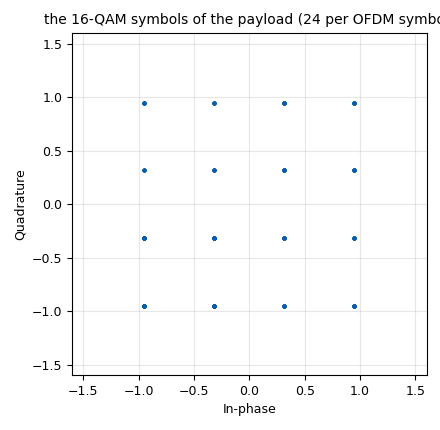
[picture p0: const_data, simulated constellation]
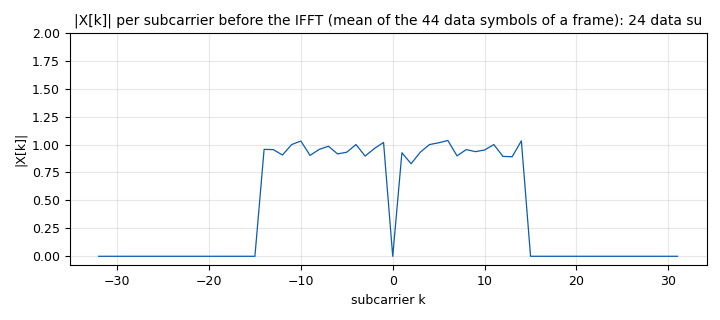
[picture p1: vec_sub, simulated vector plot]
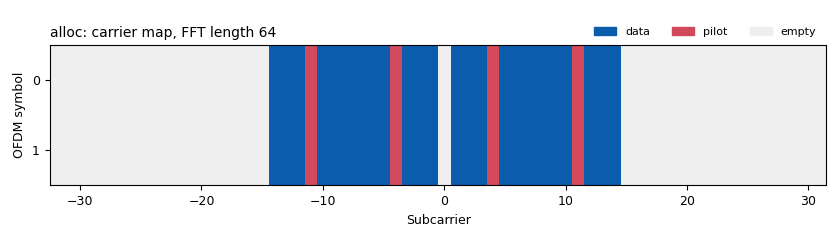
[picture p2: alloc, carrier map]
options:
  parameters:
    author: p501_fft_example
    description: 'The B210 transmits the frame of the P501 receiver with the 128-sample STS (overlay p501_ofdm_rx_sts; 850 MHz, 3.84 MS/s): the preamble from a vector source, the 44 data symbols from the stock gr-digital blocks (chunks to symbols, OFDM carrier allocator, IFFT, cyclic prefixer), the idle slot of 32 samples, joined by a tagged stream mux.'
    generate_options: qt_gui
    id: ofdm_b210_frame_tx_sts_stock
    output_language: python
    title: 'B210 transmitter: OFDM frames with the 128-sample STS preamble, the data from the stock GNU Radio OFDM blocks'
  states: {}

blocks:
- name: samp_rate
  id: variable
  parameters:
    value: '3840000'
    comment: '3.84 MS/s: the P501''s sample rate; N = 64 subcarriers of 60 kHz'
  states: {}
- name: freq
  id: variable
  parameters:
    value: 850e6
    comment: 'carrier: the P501 receiver (notebook P501_OFDM_Live, p501_ofdm_b210.py) must use the same LO. Check the rules where you are before transmitting'
  states: {}
- name: fft_len
  id: variable
  parameters:
    value: '64'
    comment: FFT length N
  states: {}
- name: cp_len
  id: variable
  parameters:
    value: '16'
    comment: cyclic prefix, in samples
  states: {}
- name: length_tag_key
  id: variable
  parameters:
    value: '"packet_len"'
    comment: the tag that carries the length of a frame (in symbols, then in OFDM symbols, then in samples) from block to block
  states: {}
- name: occupied_carriers
  id: variable
  parameters:
    value: ([-14, -13, -12, -10, -9, -8, -7, -6, -5, -3, -2, -1, 1, 2, 3, 5, 6, 7, 8, 9, 10, 12, 13, 14],)
    comment: the 24 data subcarriers (k = -14 .. +14 without 0 and without the pilots), in the order in which the symbols are placed
  states: {}
- name: pilot_carriers
  id: variable
  parameters:
    value: ([-11, -4, 4, 11],)
    comment: the 4 pilot subcarriers
  states: {}
- name: pilot_polarity
  id: variable
  parameters:
    value: '[-1, -1, -1, -1, -1, -1, -1, 1, 1, 1, 1, 1, 1, -1, 1, 1, 1, 1, 1, -1, -1, 1, 1, 1, 1, -1, 1, -1, 1, 1, 1, -1, -1, -1, -1, 1, 1, -1, 1, 1, 1, -1, 1, -1]'
    comment: the sign of the pilots in every one of the 44 data symbols (PRBS-7 of IEEE 802.11)
  states: {}
- name: pilot_symbols
  id: variable
  parameters:
    value: tuple(tuple(p * v for v in ((0.707106781187+0.707106781187j), (0.707106781187-0.707106781187j), (-0.707106781187+0.707106781187j), (-0.707106781187-0.707106781187j))) for p in pilot_polarity)
    comment: 'the pilot values of every data symbol: QPSK times the polarity'
  states: {}
- name: payload_nibbles
  id: variable
  parameters:
    value: '[15, 15, 15, 14, 0, 0, 0, 4, 0, 0, 1, 8, 0, 0, 5, 0, 0, 1, 14, 0, 0, 4, 4, 0, 1, 9, 8, 0, 5, 5, 0, 1, 15, 14, 0, 4, 0, 4, 1, 8, 1, 8, 5, 0, 5, 1, 14, 1, 14, 4, 4, 4, 5, 9, 9, 9, 13, 5, 5, 4, 15, 15, 15, 10, 0, 0, 1, 12, 0, 0, 4, 8, 0, 1, 11, 0, 0, 5, 10, 0, 1, 13, 12, 0, 4, 12, 8, 1, 10, 11, 0, 5, 15, 10, 1, 12, 1, 12, 4, 8, 4, 9, 11, 1, 11, 5, 10, 5, 11, 13, 13, 13, 8, 12, 12, 13, 2, 10, 10, 14, 15, 15, 14, 6, 0, 0, 5, 4, 0, 1, 15, 8, 0, 4, 1, 0, 1, 8, 6, 0, 5, 1, 4, 1, 14, 7, 8, 4, 5, 1, 1, 9, 14, 6, 5, 4, 5, 5, 15, 9, 15, 12, 1, 4, 0, 8, 7, 8, 3, 1, 1, 0, 10, 6, 6, 3, 13, 5, 4, 8, 15, 15, 11, 2, 0, 1, 10, 12, 0, 5, 14, 8, 1, 12, 7, 0, 4, 9, 2, 1, 11, 6, 12, 5, 11, 6, 9, 13, 11, 7, 4, 13, 11, 3, 10, 13, 10, 9, 14, 13, 15, 4, 6, 12, 3, 9, 6, 8, 9, 7, 7, 3, 7, 3, 2, 11, 2, 10, 15, 10, 15, 14, 1, 14, 0, 4, 4, 4, 1, 9, 9, 8, 5, 5, 5, 1, 15, 15, 14, 4, 0, 0, 5, 8, 0, 1, 13, 0, 0, 4, 14, 0, 1, 10, 4, 0, 5, 13, 8, 1, 12, 13, 0, 4, 10, 14, 1, 11, 14, 4, 5, 8, 5, 9, 13, 1, 13, 4, 14, 4, 15, 10, 5, 10, 1, 13, 13, 12, 4, 12, 12, 9, 10, 10, 11, 5, 15, 15, 11, 12, 0, 1, 8, 8, 0, 5, 3, 0, 1, 14, 10, 0, 4, 7, 12, 1, 9, 0, 8, 5, 6, 3, 1, 15, 4, 10, 4, 3, 11, 13, 8, 9, 8, 13, 3, 5, 2, 14, 11, 14, 14, 7, 8, 6, 5, 1, 1, 5, 14, 6, 7, 12, 5, 5, 0, 9, 15, 14, 3, 4, 0, 4, 11, 8, 1, 11, 9, 0, 5, 9, 6, 1, 13, 7, 4, 4, 15, 3, 9, 10, 2, 9, 5, 12, 15, 7, 12, 10, 3, 0, 11, 12, 10, 3, 8, 11, 12, 9, 3, 8, 11, 6, 9, 3, 11, 7, 6, 9, 11, 3, 7, 5, 10, 11, 3, 13, 15, 10, 8, 12, 1, 15, 2, 8, 4, 2, 15, 1, 8, 14, 2, 5, 2, 4, 13, 14, 13, 10, 12, 6, 13, 14, 9, 6, 12, 7, 7, 6, 9, 3, 3, 7, 6, 10, 11, 3, 7, 15, 10, 11, 0, 1, 15, 10, 0, 4, 1, 12, 1, 8, 4, 8, 5, 1, 11, 1, 14, 5, 10, 4, 5, 13, 13, 9, 12, 12, 13, 4, 10, 10, 15, 11, 15, 14, 1, 8, 0, 4, 5, 0, 1, 9, 14, 0, 5, 4, 4, 1, 15, 9, 8, 4, 1, 5, 1, 8, 7, 14, 5, 1, 0, 5, 14, 6, 1, 12, 5, 4, 4, 9, 15, 9, 11, 4, 1, 5, 11, 8, 7, 13, 9, 1, 0, 13, 6, 6, 2, 15, 5, 4, 14, 3, 15, 10, 4, 8, 1, 13, 11, 0, 4, 13, 10, 1, 10, 13, 12, 5, 14, 12, 9, 12, 6, 11, 4, 9, 7, 11, 11, 7, 1, 9, 11, 2, 5, 5, 10, 13, 15, 13, 14, 12, 0, 12, 6, 8, 2, 9, 7, 0, 15, 7, 2, 2, 3, 2, 12, 12, 10, 14, 10, 11, 14, 7, 15, 8, 5, 0, 1, 1, 14, 0, 6, 4, 4, 1, 5, 9, 8, 7, 13, 5, 1, 0, 15, 14, 6, 2, 0, 5, 4, 12, 1, 15, 10, 8, 4, 1, 15, 1, 8, 4, 2, 5, 1, 8, 13, 14, 5, 2, 12, 5, 14, 14, 9, 12, 6, 7, 4, 9, 5, 3, 11, 7, 14, 9, 11, 0, 7, 5, 10, 1, 3, 13, 12, 6, 8, 12, 9, 7, 2, 11, 7, 2, 15, 11, 2, 14, 1, 10, 14, 4, 5, 14, 5, 9, 12, 5, 13, 4, 9, 12, 15, 11, 4, 10, 1, 11, 11, 12, 5, 9, 8, 9, 13, 5, 3, 4, 15, 14, 11, 10, 0, 7, 9, 12, 1, 1, 4, 8, 6, 7, 11, 1, 5, 1, 10, 7, 14, 5, 13, 0, 5, 12, 14, 1, 12, 10, 4, 4, 11, 13, 9, 11, 8, 13, 5, 9, 2, 15, 13, 6, 14, 0, 15, 6, 4, 2, 3, 5, 8, 12, 11, 13, 2, 11, 8, 14, 15, 9, 2, 6, 1, 6, 13, 4, 7, 6, 15, 9, 3, 6, 1, 6, 11, 4, 7, 7, 11, 9, 3, 1, 9, 6, 10, 5, 7, 7, 13, 15, 3, 0, 12, 2, 10, 2, 8, 15, 12, 15, 2, 0, 10, 2, 12, 3, 12, 14, 8, 8, 10, 7, 3, 3, 13, 2, 10, 8, 14, 15, 15, 2, 6, 0, 2, 13, 4, 0, 14, 15, 8, 2, 6, 1, 0, 13, 4, 6, 2, 15, 9, 4, 14, 1, 7, 10, 4, 7, 1, 13, 9, 2, 4, 13, 6, 13, 10, 15, 6, 13, 14, 3, 6, 12, 4, 11, 6, 9, 11, 11, 7, 5, 9, 11, 3, 13, 5, 10, 8, 15, 13, 15, 2, 0, 12, 2, 12, 2, 8, 14, 8, 15, 2, 7, 2, 2, 13, 2, 12, 14, 14, 14, 10, 6, 6, 7, 13, 5, 5, 0, 15, 15, 14, 2, 0, 0, 4, 12, 0, 1, 10, 8, 0, 5, 15, 0, 1, 12, 2, 0, 4, 8, 12, 1, 11, 2, 8, 5, 10, 15, 1, 13, 14, 2, 4, 12, 4, 13, 10, 9, 10, 13, 15, 5, 14, 12, 3, 12, 6, 8, 8, 9, 7, 3, 3, 7, 2, 10, 11, 2, 15, 15, 10, 14, 0, 1, 14, 4, 0, 4, 5, 8, 1, 9, 13, 0, 5, 4, 14, 1, 15, 10, 4, 4, 1, 13, 9, 8, 4, 13, 5, 1, 10, 15, 14, 5]'
    comment: 'the payload of one frame: 44 symbols x 24 subcarriers = 1056 numbers of 4 bits (the PRBS-15 of the other transmitter and of the receivers'' error counters, restarted in every frame)'
  states: {}
- name: payload_points
  id: variable
  parameters:
    value: '[((-3, -1, 3, 1)[i >> 2] + 1j * (-3, -1, 3, 1)[i & 3]) / 10 ** 0.5 for i in range(16)]'
    comment: '16-QAM with the Gray code of the receivers: index i = 4 I + Q, the levels -3 -1 3 1 for the Gray codes 00 01 10 11, unit average power'
  states: {}
- name: tx_scale
  id: variable
  parameters:
    value: tx_amp / (8 * 0.668721)
    comment: 'the IFFT of GNU Radio has no 1/N: its output is 8 times the model''s frame, whose rms over the 3808 active samples (the frame without its idle slot) is 0.6687; this makes the rms of the active part tx_amp'
  states: {}
- name: tabs
  id: qtgui_tab_widget
  parameters:
    num_tabs: '4'
    label0: 1 Data symbols
    label1: 2 Subcarriers
    label2: 3 Frame in time
    label3: 4 Spectrum
    gui_hint: 2,0,1,4
    comment: one tab per stage of the transmitter
  states: {}
- name: tx_on
  id: variable_qtgui_chooser
  parameters:
    comment: OFF at start. Switch ON when the receiver is ready.
    gui_hint: 0,0,1,1
    label: Transmit (B210 TX/RX port)
    label0: 'OFF'
    label1: 'ON'
    num_opts: '2'
    option0: '0'
    option1: '1'
    type: int
    value: '0'
    widget: radio_buttons
  states: {}
- name: tx_gain
  id: variable_qtgui_range
  parameters:
    comment: 'the default is low because the amplifier after the B210 of the lab (65 dB gave about 80 counts at the P501 with its RX gain index 50, SNR 35 dB); without an amplifier and with the antennas a few centimetres apart 79 dB is the value of ofdm_b210_frame_tx.grc (SNR 26 dB at the P501 with RX gain index 70). Raise it step by step: the radiated power is yours to check'
    gui_hint: 0,1,1,3
    label: B210 TX gain (dB)
    start: '0'
    step: '1'
    stop: '86'
    value: '60'
  states: {}
- name: tx_amp
  id: variable_qtgui_range
  parameters:
    comment: 'OFDM peaks are 3.4 x the RMS: 0.25 gives peaks of 0.85 of full scale; 0.29 is the limit'
    gui_hint: 1,0,1,4
    label: TX digital amplitude (RMS of the active part)
    start: '0'
    step: '0.01'
    stop: '0.29'
    value: '0.25'
  states: {}
- name: payload_src
  id: blocks_vector_source_x
  parameters:
    type: byte
    vector: payload_nibbles
    repeat: 'True'
    comment: 'STOCK: the 1056 symbols of one frame, repeated forever'
  states: {}
- name: to_frame
  id: blocks_stream_to_tagged_stream
  parameters:
    type: byte
    packet_len: len(payload_nibbles)
    len_tag_key: length_tag_key
    comment: 'STOCK: cuts the stream into frames of 1056 symbols and tags the length'
  states: {}
- name: mapper
  id: digital_chunks_to_symbols_xx
  parameters:
    in_type: byte
    out_type: complex
    symbol_table: payload_points
    dimension: '1'
    comment: 'STOCK: number 0 .. 15 -> 16-QAM point'
  states: {}
- name: alloc
  id: digital_ofdm_carrier_allocator_cvc
  parameters:
    fft_len: fft_len
    len_tag_key: length_tag_key
    occupied_carriers: occupied_carriers
    output_is_shifted: 'True'
    pilot_carriers: pilot_carriers
    pilot_symbols: pilot_symbols
    sync_words: ()
    comment: 'STOCK BLOCK: carrier allocator (no sync words here, the preamble comes from the vector source): 24 values to the 24 data subcarriers, the pilots on 4 more, zeros elsewhere; one vector of 64 per OFDM symbol, 44 per frame'
  states: {}
- name: ifft
  id: fft_vxx
  parameters:
    type: complex
    fft_size: fft_len
    forward: 'False'
    window: ()
    shift: 'True'
    comment: 'STOCK: inverse FFT of every OFDM symbol (shift: the subcarrier k is in the bin k + 32). No 1/N'
  states: {}
- name: cp
  id: digital_ofdm_cyclic_prefixer
  parameters:
    input_size: fft_len
    cp_len: cp_len
    tagname: length_tag_key
    minoutbuf: '32768'
    comment: 'STOCK BLOCK: copies the last 16 samples of every symbol in front of it: 80 samples per symbol, 3520 per frame. Its output buffer must hold a whole frame: minimum output buffer 32768 (8192 was not enough), without it the block stops with ''Buffer too small for min_noutput_items'''
  states: {}
- name: idle_src
  id: analog_const_source_x
  parameters:
    type: complex
    const: '0'
    comment: 'the idle slot: zeros'
  states: {}
- name: idle_tag
  id: blocks_stream_to_tagged_stream
  parameters:
    type: complex
    packet_len: '32'
    len_tag_key: length_tag_key
    comment: 'STOCK: 32 samples of silence: the idle slot of the STS frame'
  states: {}
- name: mux
  id: blocks_tagged_stream_mux
  parameters:
    lengthtagname: length_tag_key
    ninputs: '3'
    type: complex
    minoutbuf: '32768'
    comment: 'STOCK: preamble (288) + data (3520) + idle slot (32) = 3840 samples = 1 ms (minimum output buffer 32768 for the same reason)'
  states: {}
- name: scale
  id: blocks_multiply_const_vxx
  parameters:
    type: complex
    const: tx_scale * tx_on
    comment: 1 / 8 and the amplitude, and the ON/OFF switch
  states: {}
- name: gate
  id: blocks_tag_gate
  parameters:
    type: complex
    propagate_tags: 'False'
    comment: removes the length tags before the B210 (the sink does not need them)
  states: {}
- name: uhd_usrp_sink_0
  id: uhd_usrp_sink
  parameters:
    ant0: TX/RX
    center_freq0: freq
    comment: the B210 transmitter (TX/RX port); the B210 must be the only program using it
    dev_addr: ''
    dev_args: num_send_frames=128,num_recv_frames=128,send_frame_size=16360,recv_frame_size=16360
    gain0: tx_gain
    samp_rate: samp_rate
    sync: sync
    type: fc32
  states: {}
- name: const_data
  id: qtgui_const_sink_x
  parameters:
    grid: 'True'
    gui_hint: tabs@0:0,0,1,1
    label1: symbols
    legend: 'False'
    name: '"the 16-QAM symbols of the payload (24 per OFDM symbol)"'
    size: '1056'
    type: complex
    update_time: '0.1'
    xmax: '1.6'
    xmin: '-1.6'
    ymax: '1.6'
    ymin: '-1.6'
  states: {}
- name: v_mag
  id: blocks_complex_to_mag
  parameters:
    vlen: '64'
  states: {}
- name: v_avg
  id: blocks_moving_average_xx
  parameters:
    type: float
    length: '44'
    scale: 1.0 / 44
    max_iter: '4000'
    vlen: '64'
    comment: the mean |X[k]| over the 44 data symbols of a frame
  states: {}
- name: vec_sub
  id: qtgui_vector_sink_f
  parameters:
    name: '"|X[k]| per subcarrier before the IFFT (mean of the 44 data symbols of a frame): 24 data subcarriers and the 4 pilots"'
    vlen: '64'
    x_start: '-32'
    x_step: '1'
    x_axis_label: '"subcarrier k"'
    y_axis_label: '"|X[k]|"'
    ymin: '0'
    ymax: '2'
    gui_hint: tabs@1:0,0,1,1
    update_time: '0.1'
    grid: 'True'
  states: {}
- name: x_mag
  id: blocks_complex_to_mag
  parameters: {}
  states: {}
- name: time_sink
  id: qtgui_time_sink_x
  parameters:
    autoscale: 'True'
    entags: 'False'
    grid: 'True'
    gui_hint: tabs@2:0,0,1,1
    label1: '"|x|"'
    legend: 'False'
    name: '"the frame as the B210 sends it: |x| (two frames of 3840 samples = 1 ms each: the STS, the training symbols, the 44 data symbols, a gap of 32 samples)"'
    size: '8192'
    srate: samp_rate
    type: float
    update_time: '0.1'
    ymax: '1.0'
    ymin: '0'
  states: {}
- name: freq_sink
  id: qtgui_freq_sink_x
  parameters:
    average: '0.2'
    bw: samp_rate
    fc: '0'
    fftsize: '2048'
    grid: 'True'
    gui_hint: tabs@3:0,0,1,1
    label1: TX
    legend: 'False'
    name: '"spectrum sent to the B210: 28 subcarriers of 60 kHz = 1.7 MHz"'
    type: complex
    update_time: '0.1'
    ymax: '20'
    ymin: '-100'
  states: {}
- name: preamble_samples
  id: variable
  parameters:
    value: '[3.055050463j, 0j, (-0+1.265443336j), (-0+3.662737783j), 3.055050463j, 0j, -1.265443336j, 1.013731006j, 3.055050463j, 0j, -7.375544262j, -12.303725381j, -9.16515139j, 0j, (-0+7.375544262j), (-0+7.627256592j), 3.055050463j, 0j, (-0+1.265443336j), (-0+3.662737783j), 3.055050463j, 0j, -1.265443336j, 1.013731006j, 3.055050463j, 0j, -7.375544262j, -12.303725381j, -9.16515139j, 0j, (-0+7.375544262j), (-0+7.627256592j), 3.055050463j, 0j, (-0+1.265443336j), (-0+3.662737783j), 3.055050463j, 0j, -1.265443336j, 1.013731006j, 3.055050463j, 0j, -7.375544262j, -12.303725381j, -9.16515139j, 0j, (-0+7.375544262j), (-0+7.627256592j), 3.055050463j, 0j, (-0+1.265443336j), (-0+3.662737783j), 3.055050463j, 0j, -1.265443336j, 1.013731006j, 3.055050463j, 0j, -7.375544262j, -12.303725381j, -9.16515139j, 0j, (-0+7.375544262j), (-0+7.627256592j), 3.055050463j, 0j, (-0+1.265443336j), (-0+3.662737783j), 3.055050463j, 0j, -1.265443336j, 1.013731006j, 3.055050463j, 0j, -7.375544262j, -12.303725381j, -9.16515139j, 0j, (-0+7.375544262j), (-0+7.627256592j), 3.055050463j, 0j, (-0+1.265443336j), (-0+3.662737783j), 3.055050463j, 0j, -1.265443336j, 1.013731006j, 3.055050463j, 0j, -7.375544262j, -12.303725381j, -9.16515139j, 0j, (-0+7.375544262j), (-0+7.627256592j), 3.055050463j, 0j, (-0+1.265443336j), (-0+3.662737783j), 3.055050463j, 0j, -1.265443336j, 1.013731006j, 3.055050463j, 0j, -7.375544262j, -12.303725381j, -9.16515139j, 0j, (-0+7.375544262j), (-0+7.627256592j), 3.055050463j, 0j, (-0+1.265443336j), (-0+3.662737783j), 3.055050463j, 0j, -1.265443336j, 1.013731006j, 3.055050463j, 0j, -7.375544262j, -12.303725381j, -9.16515139j, 0j, (-0+7.375544262j), (-0+7.627256592j), (1.414213562-5.656854249j), (3.82596343-6.344152676j), (0.736064958-2.459096554j), (-4.352851698-0.370352313j), (-6.15432203-3.07192983j), (-3.594217809-5.900513181j), (-0.041880602-3.732032249j), (1.31705065+1.057343847j), (0.414213562+1.828427125j), (-1.318335704-2.647894806j), (-3.368322263-6.239551035j), (-5.613930276-3.766319299j), (-6.665723819+2.471347365j), (-4.923052165+6.336819696j), (-1.479470678+5.297618727j), (-0.072137357+1.710711654j), (-2.828427125-1.414213562j), (-7.01343444-2.805014404j), (-7.632302381-1.924802493j), (-3.169400875+0.979475894j), (2.775829235+3.388955165j), (6.002152583+2.221216839j), (6.304684422-1.57915577j), (6.242577601-2.877714446j), (6.414213562+1j), (4.395436322+5.680987331j), (-0.946227068+5.005221894j), (-6.108506294-0.379194642j), (-6.065141355-3.685055759j), (-0.38665805-1.505089947j), (5.711388008+1.644360676j), (7.123780937+0.511896432j), (4.242640687-2.828427125j), (1.408132422-2.311434862j), (1.048633847+2.438171812j), (1.394587711+4.908093235j), (0.15432203+1.07192983j), (-1.692566848-4.518238804j), (-1.438336333-4.88109368j), (0.991261859+0.024108815j), (2.414213562+3.828427125j), (0.604643647+2.429444514j), (-2.542497062-1.764611155j), (-3.350946859-4.435622199j), (-0.99113043-4.471347365j), (1.842133835-2.983988665j), (2.756239332-0.380010927j), (2.437946399+2.831836995j), (2.828427125+4.242640687j), (3.944122989+1.904781282j), (4.190749327-2.054272766j), (3.353916722-3.352432416j), (3.224170765-1.388955165j), (4.510883933-0.090184171j), (4.832386762-1.8077183j), (1.61389429-3.429990076j), (-3.585786438-1j), (-5.846528665+4.093283622j), (-2.799807857+6.998940296j), (1.84713157+6.41635174j), (2.408287105+5.685055759j), (-1.75867548+6.439978235j), (-5.331302412+5.438031525j), (-3.654374379+0.171806778j), (1.414213562-5.656854249j), (3.82596343-6.344152676j), (0.736064958-2.459096554j), (-4.352851698-0.370352313j), (-6.15432203-3.07192983j), (-3.594217809-5.900513181j), (-0.041880602-3.732032249j), (1.31705065+1.057343847j), (0.414213562+1.828427125j), (-1.318335704-2.647894806j), (-3.368322263-6.239551035j), (-5.613930276-3.766319299j), (-6.665723819+2.471347365j), (-4.923052165+6.336819696j), (-1.479470678+5.297618727j), (-0.072137357+1.710711654j), (-2.828427125-1.414213562j), (-7.01343444-2.805014404j), (-7.632302381-1.924802493j), (-3.169400875+0.979475894j), (2.775829235+3.388955165j), (6.002152583+2.221216839j), (6.304684422-1.57915577j), (6.242577601-2.877714446j), (6.414213562+1j), (4.395436322+5.680987331j), (-0.946227068+5.005221894j), (-6.108506294-0.379194642j), (-6.065141355-3.685055759j), (-0.38665805-1.505089947j), (5.711388008+1.644360676j), (7.123780937+0.511896432j), (4.242640687-2.828427125j), (1.408132422-2.311434862j), (1.048633847+2.438171812j), (1.394587711+4.908093235j), (0.15432203+1.07192983j), (-1.692566848-4.518238804j), (-1.438336333-4.88109368j), (0.991261859+0.024108815j), (2.414213562+3.828427125j), (0.604643647+2.429444514j), (-2.542497062-1.764611155j), (-3.350946859-4.435622199j), (-0.99113043-4.471347365j), (1.842133835-2.983988665j), (2.756239332-0.380010927j), (2.437946399+2.831836995j), (2.828427125+4.242640687j), (3.944122989+1.904781282j), (4.190749327-2.054272766j), (3.353916722-3.352432416j), (3.224170765-1.388955165j), (4.510883933-0.090184171j), (4.832386762-1.8077183j), (1.61389429-3.429990076j), (-3.585786438-1j), (-5.846528665+4.093283622j), (-2.799807857+6.998940296j), (1.84713157+6.41635174j), (2.408287105+5.685055759j), (-1.75867548+6.439978235j), (-5.331302412+5.438031525j), (-3.654374379+0.171806778j), (1.414213562-5.656854249j), (3.82596343-6.344152676j), (0.736064958-2.459096554j), (-4.352851698-0.370352313j), (-6.15432203-3.07192983j), (-3.594217809-5.900513181j), (-0.041880602-3.732032249j), (1.31705065+1.057343847j), (0.414213562+1.828427125j), (-1.318335704-2.647894806j), (-3.368322263-6.239551035j), (-5.613930276-3.766319299j), (-6.665723819+2.471347365j), (-4.923052165+6.336819696j), (-1.479470678+5.297618727j), (-0.072137357+1.710711654j), (-2.828427125-1.414213562j), (-7.01343444-2.805014404j), (-7.632302381-1.924802493j), (-3.169400875+0.979475894j), (2.775829235+3.388955165j), (6.002152583+2.221216839j), (6.304684422-1.57915577j), (6.242577601-2.877714446j), (6.414213562+1j), (4.395436322+5.680987331j), (-0.946227068+5.005221894j), (-6.108506294-0.379194642j), (-6.065141355-3.685055759j), (-0.38665805-1.505089947j), (5.711388008+1.644360676j), (7.123780937+0.511896432j)]'
    comment: 'the 288 samples that start the frame, in the units of the stock IFFT (8 x the model): the STS (128 samples: a 64-sample IFFT of 6 QPSK subcarriers k = +-4, +-8, +-12 sent twice, so the signal repeats every 16 samples) and the LTS (a prefix of 32 samples, the training symbol of 28 QPSK subcarriers, the same symbol again: 160 samples). They are not OFDM symbols with the usual 16-sample prefix, so the carrier allocator does not make them'
  states: {}
- name: pre_src
  id: blocks_vector_source_x
  parameters:
    type: complex
    vector: preamble_samples
    repeat: 'True'
    comment: 'STOCK: the preamble of every frame, repeated forever'
  states: {}
- name: pre_tag
  id: blocks_stream_to_tagged_stream
  parameters:
    type: complex
    packet_len: len(preamble_samples)
    len_tag_key: length_tag_key
    comment: 'STOCK: cuts it into packets of 288 samples and tags the length'
  states: {}

connections:
- [payload_src, '0', to_frame, '0']
- [to_frame, '0', mapper, '0']
- [mapper, '0', alloc, '0']
- [alloc, '0', ifft, '0']
- [ifft, '0', cp, '0']
- [idle_src, '0', idle_tag, '0']
- [mux, '0', scale, '0']
- [scale, '0', gate, '0']
- [gate, '0', uhd_usrp_sink_0, '0']
- [mapper, '0', const_data, '0']
- [alloc, '0', v_mag, '0']
- [v_mag, '0', v_avg, '0']
- [v_avg, '0', vec_sub, '0']
- [scale, '0', x_mag, '0']
- [x_mag, '0', time_sink, '0']
- [scale, '0', freq_sink, '0']
- [pre_src, '0', pre_tag, '0']
- [pre_tag, '0', mux, '0']
- [cp, '0', mux, '1']
- [idle_tag, '0', mux, '2']

metadata:
  file_format: 1
  grc_version: 3.10.12.0
